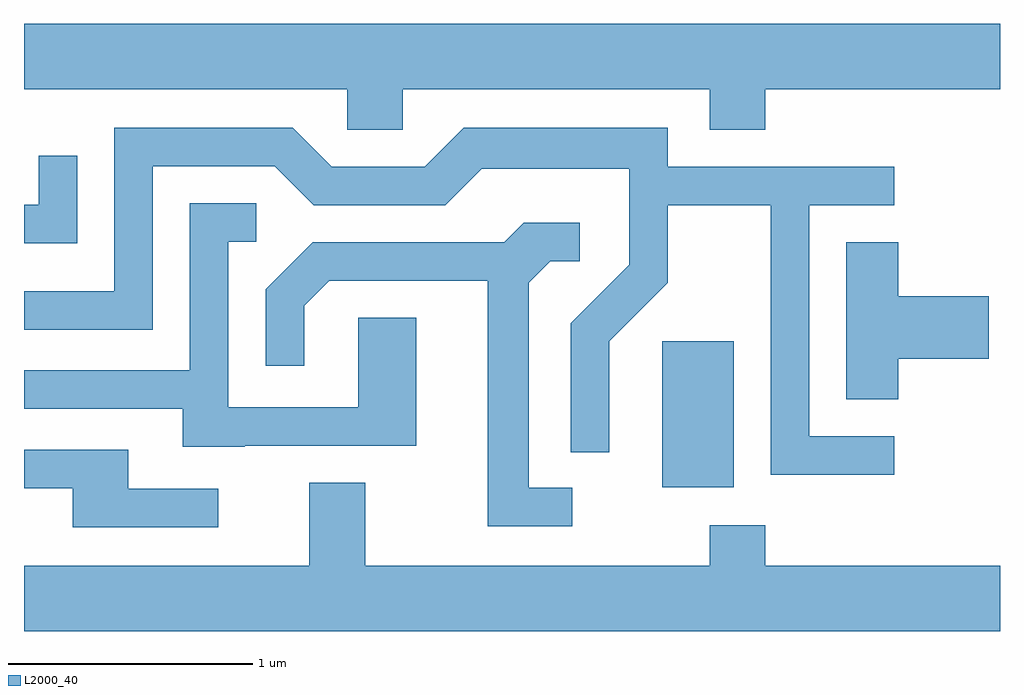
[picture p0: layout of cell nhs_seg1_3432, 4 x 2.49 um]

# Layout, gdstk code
import gdstk
lib = gdstk.Library(unit=1e-6, precision=1e-09)
def R(c, l, rs):  # rectangles x0, y0, x1, y1
    for r in rs: c.add(gdstk.rectangle(r[:2], r[2:], *l))
def P(c, l, *ps):  # polygons
    for p in ps: c.add(gdstk.Polygon(p, *l))
L2000_40 = (2000, 40)

nhs_seg1_3432 = lib.new_cell('nhs_seg1_3432')
R(nhs_seg1_3432, L2000_40, [(292.226,842.446,292.519,843.044)])
P(nhs_seg1_3432, L2000_40, [(291.164,844.076),(292.421,844.076),(292.421,843.911),(292.649,843.911),(292.649,844.076),(293.611,844.076),(293.611,844.344),(289.611,844.344),(289.611,844.076),(290.936,844.076),(290.936,843.911),(291.164,843.911)],
  [(293.178,842.654),(292.829,842.654),(292.829,843.601),(293.178,843.601),(293.178,843.759),(292.249,843.759),(292.249,843.919),(291.414,843.919),(291.254,843.759),(290.872,843.759),(290.712,843.919),(289.981,843.919),(289.981,843.249),(289.611,843.249),(289.611,843.091),(290.139,843.091),(290.139,843.761),(290.639,843.761),(290.799,843.601),(291.337,843.601),(291.487,843.751),(292.091,843.751),(292.091,843.357),(291.851,843.117),(291.851,842.588),(292.009,842.588),(292.009,843.044),(292.249,843.284),(292.249,843.601),(292.671,843.601),(292.671,842.496),(293.178,842.496)],
  [(289.829,843.803),(289.671,843.803),(289.671,843.604),(289.611,843.604),(289.611,843.446),(289.829,843.446)],
  [(290.515,842.616),(291.219,842.616),(291.219,843.139),(290.981,843.139),(290.981,842.774),(290.449,842.774),(290.449,843.451),(290.563,843.451),(290.563,843.609),(290.291,843.609),(290.291,842.924),(289.611,842.924),(289.611,842.766),(290.261,842.766),(290.261,842.611),(290.515,842.611)],
  [(291.858,842.444),(291.679,842.444),(291.679,843.284),(291.767,843.371),(291.888,843.371),(291.888,843.529),(291.659,843.529),(291.579,843.449),(290.794,843.449),(290.601,843.257),(290.601,842.943),(290.759,842.943),(290.759,843.189),(290.862,843.291),(291.511,843.291),(291.511,842.286),(291.858,842.286)],
  [(293.194,842.971),(293.564,842.971),(293.564,843.229),(293.194,843.229),(293.194,843.449),(292.981,843.449),(292.981,842.806),(293.194,842.806)],
  [(290.408,842.439),(290.039,842.439),(290.039,842.599),(289.611,842.599),(289.611,842.441),(289.811,842.441),(289.811,842.281),(290.408,842.281)],
  [(293.611,842.124),(292.649,842.124),(292.649,842.289),(292.421,842.289),(292.421,842.124),(291.009,842.124),(291.009,842.464),(290.781,842.464),(290.781,842.124),(289.611,842.124),(289.611,841.856),(293.611,841.856)])

lib.write_gds('nhs_seg1_3432.gds')
